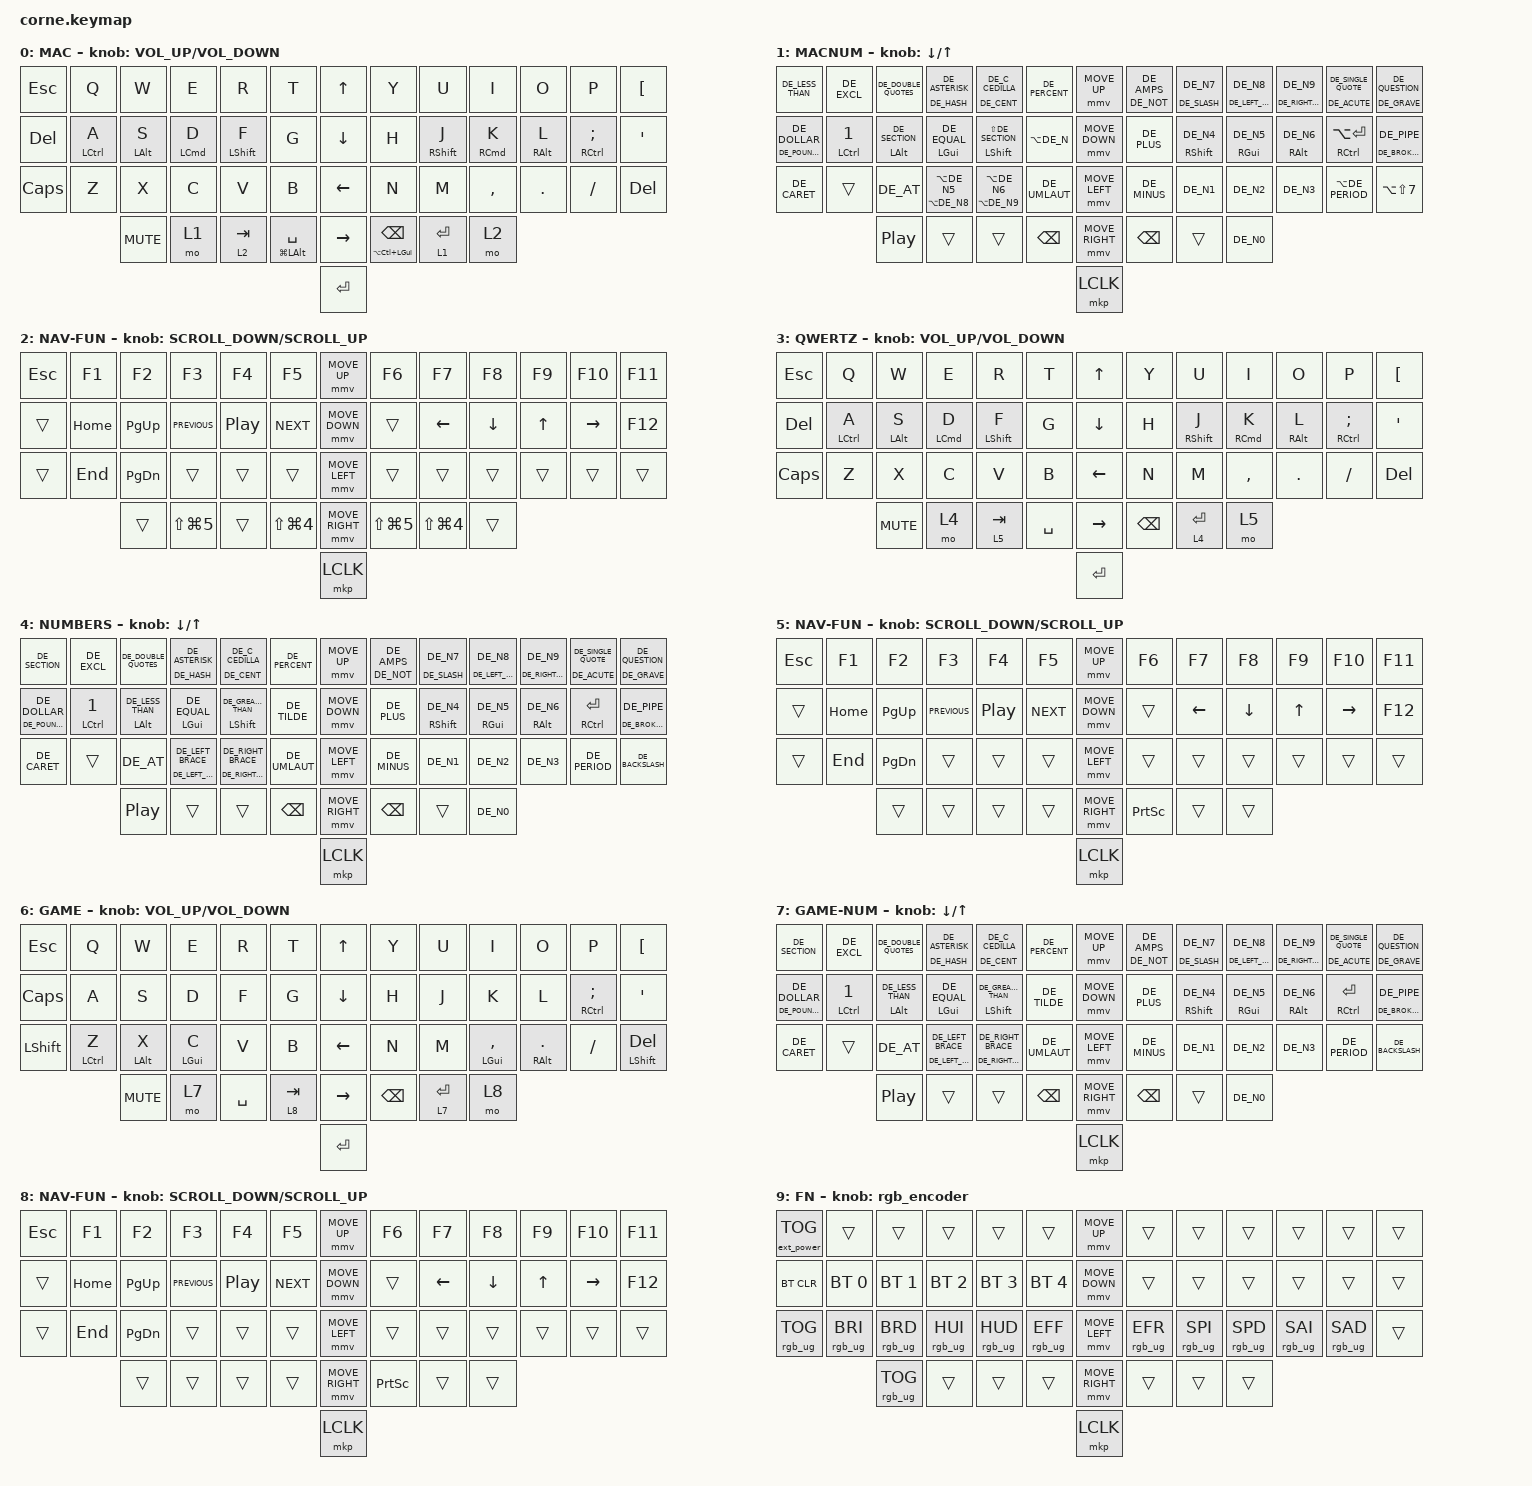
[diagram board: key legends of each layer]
#include "keys_de_swiss.h"
#include <behaviors/mouse_keys.dtsi>
#include <dt-bindings/zmk/mouse.h>
#include <behaviors.dtsi>
#include <dt-bindings/zmk/bt.h>
#include <dt-bindings/zmk/ext_power.h>
#include <dt-bindings/zmk/keys.h>
#include <dt-bindings/zmk/pointing.h>
#include <dt-bindings/zmk/rgb.h>

#define ZMK_MOUSE_DEFAULT_MOVE_VAL 1200  // 600
#define ZMK_MOUSE_DEFAULT_SCRL_VAL 20    // 10
#define U_MS_U &mmv MOVE_UP
#define U_MS_D &mmv MOVE_DOWN
#define U_MS_L &mmv MOVE_LEFT
#define U_MS_R &mmv MOVE_RIGHT

/ {
    behaviors {
        td0: td0 {
            compatible = "zmk,behavior-tap-dance";
            label = "TD0";
            #binding-cells = <0>;
            bindings = <&kp LEFT_SHIFT>, <&kp CAPS>;
        };

        hmr: hmr {
            compatible = "zmk,behavior-hold-tap";
            label = "HMR";
            bindings = <&kp>, <&kp>;

            #binding-cells = <2>;
            tapping-term-ms = <190>;
            quick-tap-ms = <175>;
            flavor = "balanced";
            hold-trigger-key-positions = <40 41 42 44 45 46 0 1 2 3 4 5 13 14 15 16 17 18 26 27 28 29 30 31>;
            hold-trigger-on-release;
        };

        hml: hml {
            compatible = "zmk,behavior-hold-tap";
            label = "HML";
            bindings = <&kp>, <&kp>;

            #binding-cells = <2>;
            tapping-term-ms = <190>;
            quick-tap-ms = <175>;
            flavor = "balanced";
            hold-trigger-on-release;
            hold-trigger-key-positions = <40 41 42 44 45 46 7 8 9 10 11 12 20 21 22 23 24 25 33 34 35 36 37 38>;
        };

        mmv {
            acceleration-exponent = <1>;      // 1
            time-to-max-speed-ms = <900>;    // 40
            delay-ms = <0>;                   // 0
        };

        msc {
            acceleration-exponent = <1>;      // 0
            time-to-max-speed-ms = <400>;      // 500
            delay-ms = <0>;                   // 10
        };
    };

    rgb_encoder: rgb_encoder {
        compatible = "zmk,behavior-sensor-rotate";
        label = "RGB_ENCODER";
        #sensor-binding-cells = <0>;
        bindings = <&rgb_ug RGB_BRI>, <&rgb_ug RGB_BRD>;
    };

    scroll_encoder: scroll_encoder {
        compatible = "zmk,behavior-sensor-rotate";
        #sensor-binding-cells = <0>;
        bindings = <&msc SCRL_DOWN>, <&msc SCRL_UP>;

        tap-ms = <30>;
    };

    combos {
        compatible = "zmk,combos";

        to-MAC {
            bindings = <&to 0>;
            key-positions = <40 46>;
            layers = <3 6>;
        };

        to-WIN {
            bindings = <&to 3>;
            key-positions = <40 46>;
            layers = <0 6 9>;
        };

        to-GAME {
            bindings = <&to 6>;
            key-positions = <26 38>;
            layers = <3 0>;
        };

        to-NAV-FUN {
            bindings = <&to 9>;
            key-positions = <31 33>;
            layers = <3 6>;
        };

        to-MAC-NAV {
            bindings = <&to 9>;
            key-positions = <31 33>;
            layers = <0>;
        };

        CapsWord {
            bindings = <&caps_word>;
            key-positions = <17 21>;
        };

        CAPZ {
            bindings = <&kp CAPSLOCK>;
            key-positions = <13 14>;
        };
    };

    keymap {
        compatible = "zmk,keymap";

        defaul_mac_layer {
            label = "MAC";
            display-name = "MAC";
            bindings = <
&kp ESC       &kp Q                &kp W            &kp E                &kp R              &kp T                     &kp UP_ARROW     &kp Y                           &kp U               &kp I                 &kp O             &kp P                    &kp LEFT_BRACKET
&kp DELETE    &hml LEFT_CONTROL A  &hml LEFT_ALT S  &hml LEFT_COMMAND D  &hml LEFT_SHIFT F  &kp G                     &kp DOWN_ARROW   &kp H                           &hmr RIGHT_SHIFT J  &hmr RIGHT_COMMAND K  &hmr RIGHT_ALT L  &hmr RIGHT_CONTROL SEMI  &kp SQT
&kp CAPSLOCK  &kp Z                &kp X            &kp C                &kp V              &kp B                     &kp LEFT_ARROW   &kp N                           &kp M               &kp COMMA             &kp DOT           &kp FSLH                 &kp DELETE
                                   &kp K_MUTE       &mo 1                &lt 2 TAB          &mt LG(LEFT_ALT) SPACE    &kp RIGHT_ARROW  &mt LA(LC(LEFT_GUI)) BACKSPACE  &lt 1 RETURN        &mo 2
                                                                                                                      &kp ENTER
            >;

            sensor-bindings = <&inc_dec_kp C_VOLUME_UP C_VOLUME_DOWN>;
        };

        mac_raise_layer {
            label = "MACNUM";
            display-name = "MACNUM";
            bindings = <
&kp DE_LESS_THAN              &kp DE_EXCL                 &kp DE_DOUBLE_QUOTES      &hml DE_HASH DE_ASTERISK  &hml DE_CENT DE_C_CEDILLA       &kp DE_PERCENT    &mmv MOVE_UP     &hmr DE_NOT DE_AMPS  &hmr DE_SLASH DE_N7     &hmr DE_LEFT_PARENTHESIS DE_N8  &hmr DE_RIGHT_PARENTHESIS DE_N9  &hmr DE_ACUTE DE_SINGLE_QUOTE  &hmr DE_GRAVE DE_QUESTION
&hml DE_POUND_SIGN DE_DOLLAR  &hml LEFT_CONTROL NUMBER_1  &hml LEFT_ALT DE_SECTION  &hml LEFT_GUI DE_EQUAL    &hml LEFT_SHIFT LS(DE_SECTION)  &kp LA(DE_N)      &mmv MOVE_DOWN   &kp DE_PLUS          &hmr RIGHT_SHIFT DE_N4  &hmr RIGHT_GUI DE_N5            &hmr RIGHT_ALT DE_N6             &hmr RIGHT_CONTROL LA(RET)     &hmr DE_BROKEN_BAR DE_PIPE
&kp DE_CARET                  &trans                      &kp DE_AT                 &hml LA(DE_N8) LA(DE_N5)  &hml LA(DE_N9) LA(DE_N6)        &kp DE_UMLAUT     &mmv MOVE_LEFT   &kp DE_MINUS         &kp DE_N1               &kp DE_N2                       &kp DE_N3                        &kp LA(DE_PERIOD)              &kp LA(LS(NUMBER_7))
                                                          &kp C_PLAY_PAUSE          &trans                    &trans                          &kp BACKSPACE     &mmv MOVE_RIGHT  &kp BACKSPACE        &trans                  &kp DE_N0
                                                                                                                                                                &mkp LCLK
            >;

            sensor-bindings = <&inc_dec_kp DOWN UP>;
        };

        mac_lower_layer {
            label = "MAC-NAV";
            display-name = "NAV-FUN";
            bindings = <
&kp ESCAPE  &kp F1    &kp F2         &kp F3                &kp F4            &kp F5                  &mmv MOVE_UP     &kp F6                &kp F7                &kp F8          &kp F9        &kp F10          &kp F11
&trans      &kp HOME  &kp PAGE_UP    &kp C_PREVIOUS        &kp C_PLAY_PAUSE  &kp C_NEXT              &mmv MOVE_DOWN   &trans                &kp LEFT_ARROW        &kp DOWN_ARROW  &kp UP_ARROW  &kp RIGHT_ARROW  &kp F12
&trans      &kp END   &kp PAGE_DOWN  &trans                &trans            &trans                  &mmv MOVE_LEFT   &trans                &trans                &trans          &trans        &trans           &trans
                      &trans         &kp LS(LG(NUMBER_5))  &trans            &kp LS(LG(NUMBER_4))    &mmv MOVE_RIGHT  &kp LS(LG(NUMBER_5))  &kp LS(LG(NUMBER_4))  &trans
                                                                                                     &mkp LCLK
            >;

            sensor-bindings = <&inc_dec_kp K_SCROLL_DOWN K_SCROLL_UP>;
        };

        default_win_layer {
            display-name = "QWERTZ"; // for README.md drawing
            // --------------------------------------------------------------------------------
            // |  TAB |  Q  |  W  |  E  |  R  |  T  |                ↑    |  Y  |  U   |  I  |  O  |  P  | BKSP |      &kp UP_ARROW 
            // | SHIFT |  A  |  S  |  D  |  F  |  G  |               ↓    |  H  |  J   |  K  |  L  |  ;  |  '   | 
            // | CTRL |  Z  |  X  |  C  |  V  |  B  |                ←    |  N  |  M   |  ,  |  .  |  /  | ESC  |
            //                    | GUI | LWR | SPC |                →    | ENT | RSE  | ALT |
            //                                                      enter

            bindings = <
&kp ESC       &kp Q                &kp W            &kp E                &kp R              &kp T        &kp UP_ARROW     &kp Y          &kp U               &kp I                 &kp O             &kp P                    &kp LEFT_BRACKET
&kp DELETE    &hml LEFT_CONTROL A  &hml LEFT_ALT S  &hml LEFT_COMMAND D  &hml LEFT_SHIFT F  &kp G        &kp DOWN_ARROW   &kp H          &hmr RIGHT_SHIFT J  &hmr RIGHT_COMMAND K  &hmr RIGHT_ALT L  &hmr RIGHT_CONTROL SEMI  &kp SQT
&kp CAPSLOCK  &kp Z                &kp X            &kp C                &kp V              &kp B        &kp LEFT_ARROW   &kp N          &kp M               &kp COMMA             &kp DOT           &kp FSLH                 &kp DELETE
                                   &kp K_MUTE       &mo 4                &lt 5 TAB          &kp SPACE    &kp RIGHT_ARROW  &kp BACKSPACE  &lt 4 RETURN        &mo 5
                                                                                                         &kp ENTER
            >;

            label = "QWERTZ"; // for DISPLAY label
            sensor-bindings = <&inc_dec_kp C_VOLUME_UP C_VOLUME_DOWN>;
        };

        win_raise_layer {
            display-name = "NUMBERS";

            // -----------------------------------------------------------------------------------------
            // |  TAB |  !  |  @  |  #  |  $  |  %  |   |  ^  |  &  |  *  |  (  |  )  | BKSP |
            // | CTRL |     |     |     |     |     |   |  -  |  =  |  [  |  ]  |  \  |  `   |
            // | SHFT |     |     |     |     |     |   |  _  |  +  |  {  |  }  | "|" |  ~   |
            //                    | GUI |     | SPC |   | ENT |     | ALT |

            bindings = <
&kp DE_SECTION                &kp DE_EXCL                 &kp DE_DOUBLE_QUOTES        &hml DE_HASH DE_ASTERISK            &hml DE_CENT DE_C_CEDILLA             &kp DE_PERCENT    &mmv MOVE_UP     &hmr DE_NOT DE_AMPS  &hmr DE_SLASH DE_N7     &hmr DE_LEFT_PARENTHESIS DE_N8  &hmr DE_RIGHT_PARENTHESIS DE_N9  &hmr DE_ACUTE DE_SINGLE_QUOTE  &hmr DE_GRAVE DE_QUESTION
&hml DE_POUND_SIGN DE_DOLLAR  &hml LEFT_CONTROL NUMBER_1  &hml LEFT_ALT DE_LESS_THAN  &hml LEFT_GUI DE_EQUAL              &hml LEFT_SHIFT DE_GREATER_THAN       &kp DE_TILDE      &mmv MOVE_DOWN   &kp DE_PLUS          &hmr RIGHT_SHIFT DE_N4  &hmr RIGHT_GUI DE_N5            &hmr RIGHT_ALT DE_N6             &hmr RIGHT_CONTROL RETURN      &hmr DE_BROKEN_BAR DE_PIPE
&kp DE_CARET                  &trans                      &kp DE_AT                   &hml DE_LEFT_BRACKET DE_LEFT_BRACE  &hml DE_RIGHT_BRACKET DE_RIGHT_BRACE  &kp DE_UMLAUT     &mmv MOVE_LEFT   &kp DE_MINUS         &kp DE_N1               &kp DE_N2                       &kp DE_N3                        &kp DE_PERIOD                  &kp DE_BACKSLASH
                                                          &kp C_PLAY_PAUSE            &trans                              &trans                                &kp BACKSPACE     &mmv MOVE_RIGHT  &kp BACKSPACE        &trans                  &kp DE_N0
                                                                                                                                                                                  &mkp LCLK
            >;

            label = "NUMBERS";
            sensor-bindings = <&inc_dec_kp DOWN UP>;
        };

        win_lower_layer {
            label = "NAV-FUN";
            display-name = "NAV-FUN";
            bindings = <
&kp ESCAPE  &kp F1    &kp F2         &kp F3          &kp F4            &kp F5        &mmv MOVE_UP     &kp F6           &kp F7          &kp F8          &kp F9        &kp F10          &kp F11
&trans      &kp HOME  &kp PAGE_UP    &kp C_PREVIOUS  &kp C_PLAY_PAUSE  &kp C_NEXT    &mmv MOVE_DOWN   &trans           &kp LEFT_ARROW  &kp DOWN_ARROW  &kp UP_ARROW  &kp RIGHT_ARROW  &kp F12
&trans      &kp END   &kp PAGE_DOWN  &trans          &trans            &trans        &mmv MOVE_LEFT   &trans           &trans          &trans          &trans        &trans           &trans
                      &trans         &trans          &trans            &trans        &mmv MOVE_RIGHT  &kp PRINTSCREEN  &trans          &trans
                                                                                     &mkp LCLK
            >;

            sensor-bindings = <&inc_dec_kp K_SCROLL_DOWN K_SCROLL_UP>;
        };

        default_game_layer {
            label = "GAME";
            display-name = "GAME";
            bindings = <
&kp ESC         &kp Q                &kp W            &kp E            &kp R      &kp T        &kp UP_ARROW     &kp Y          &kp U      &kp I                &kp O               &kp P                         &kp LEFT_BRACKET
&kp CAPSLOCK    &kp A                &kp S            &kp D            &kp F      &kp G        &kp DOWN_ARROW   &kp H          &kp J      &kp K                &kp L               &hmr RIGHT_CONTROL SEMICOLON  &kp SQT
&kp LEFT_SHIFT  &hml LEFT_CONTROL Z  &hml LEFT_ALT X  &hml LEFT_GUI C  &kp V      &kp B        &kp LEFT_ARROW   &kp N          &kp M      &hmr LEFT_GUI COMMA  &hmr RIGHT_ALT DOT  &kp FSLH                      &hmr LEFT_SHIFT DEL
                                     &kp K_MUTE       &mo 7            &kp SPACE  &lt 8 TAB    &kp RIGHT_ARROW  &kp BACKSPACE  &lt 7 RET  &mo 8
                                                                                               &kp ENTER
            >;

            sensor-bindings = <&inc_dec_kp C_VOLUME_UP C_VOLUME_DOWN>;
        };

        game_raise_layer {
            label = "GAME-NUM";
            display-name = "GAME-NUM";
            bindings = <
&kp DE_SECTION                &kp DE_EXCL                 &kp DE_DOUBLE_QUOTES        &hml DE_HASH DE_ASTERISK            &hml DE_CENT DE_C_CEDILLA             &kp DE_PERCENT    &mmv MOVE_UP     &hmr DE_NOT DE_AMPS  &hmr DE_SLASH DE_N7     &hmr DE_LEFT_PARENTHESIS DE_N8  &hmr DE_RIGHT_PARENTHESIS DE_N9  &hmr DE_ACUTE DE_SINGLE_QUOTE  &hmr DE_GRAVE DE_QUESTION
&hml DE_POUND_SIGN DE_DOLLAR  &hml LEFT_CONTROL NUMBER_1  &hml LEFT_ALT DE_LESS_THAN  &hml LEFT_GUI DE_EQUAL              &hml LEFT_SHIFT DE_GREATER_THAN       &kp DE_TILDE      &mmv MOVE_DOWN   &kp DE_PLUS          &hmr RIGHT_SHIFT DE_N4  &hmr RIGHT_GUI DE_N5            &hmr RIGHT_ALT DE_N6             &hmr RIGHT_CONTROL RETURN      &hmr DE_BROKEN_BAR DE_PIPE
&kp DE_CARET                  &trans                      &kp DE_AT                   &hml DE_LEFT_BRACKET DE_LEFT_BRACE  &hml DE_RIGHT_BRACKET DE_RIGHT_BRACE  &kp DE_UMLAUT     &mmv MOVE_LEFT   &kp DE_MINUS         &kp DE_N1               &kp DE_N2                       &kp DE_N3                        &kp DE_PERIOD                  &kp DE_BACKSLASH
                                                          &kp C_PLAY_PAUSE            &trans                              &trans                                &kp BACKSPACE     &mmv MOVE_RIGHT  &kp BACKSPACE        &trans                  &kp DE_N0
                                                                                                                                                                                  &mkp LCLK
            >;

            sensor-bindings = <&inc_dec_kp DOWN UP>;
        };

        game_lower_layer {
            label = "GAME-NAV";
            display-name = "NAV-FUN";
            bindings = <
&kp ESCAPE  &kp F1    &kp F2         &kp F3          &kp F4            &kp F5        &mmv MOVE_UP     &kp F6           &kp F7          &kp F8          &kp F9        &kp F10          &kp F11
&trans      &kp HOME  &kp PAGE_UP    &kp C_PREVIOUS  &kp C_PLAY_PAUSE  &kp C_NEXT    &mmv MOVE_DOWN   &trans           &kp LEFT_ARROW  &kp DOWN_ARROW  &kp UP_ARROW  &kp RIGHT_ARROW  &kp F12
&trans      &kp END   &kp PAGE_DOWN  &trans          &trans            &trans        &mmv MOVE_LEFT   &trans           &trans          &trans          &trans        &trans           &trans
                      &trans         &trans          &trans            &trans        &mmv MOVE_RIGHT  &kp PRINTSCREEN  &trans          &trans
                                                                                     &mkp LCLK
            >;

            sensor-bindings = <&inc_dec_kp K_SCROLL_DOWN K_SCROLL_UP>;
        };

        keeb_pref_layer {
            display-name = "FN";

            // -----------------------------------------------------------------------------------------
            // |  TAB |  1  |  2  |  3  |  4  |  5  |   |  6  |  7  |  8  |  9  |  0  | BKSP |
            // | BTCLR| BT1 | BT2 | BT3 | BT4 | BT5 |   | LFT | DWN |  UP | RGT |     |      |
            // | SHFT |     |     |     |     |     |   |     |     |     |     |     |      |
            //                    | GUI |     | SPC |   | ENT |     | ALT | 

            bindings = <
&ext_power EP_TOG  &trans           &trans           &trans           &trans           &trans             &mmv MOVE_UP     &trans           &trans           &trans           &trans           &trans           &trans
&bt BT_CLR         &bt BT_SEL 0     &bt BT_SEL 1     &bt BT_SEL 2     &bt BT_SEL 3     &bt BT_SEL 4       &mmv MOVE_DOWN   &trans           &trans           &trans           &trans           &trans           &trans
&rgb_ug RGB_TOG    &rgb_ug RGB_BRI  &rgb_ug RGB_BRD  &rgb_ug RGB_HUI  &rgb_ug RGB_HUD  &rgb_ug RGB_EFF    &mmv MOVE_LEFT   &rgb_ug RGB_EFR  &rgb_ug RGB_SPI  &rgb_ug RGB_SPD  &rgb_ug RGB_SAI  &rgb_ug RGB_SAD  &trans
                                    &rgb_ug RGB_TOG  &trans           &trans           &trans             &mmv MOVE_RIGHT  &trans           &trans           &trans
                                                                                                          &mkp LCLK
            >;

            label = "OPTIONS";
            sensor-bindings = <&rgb_encoder>;
        };
    };
};
